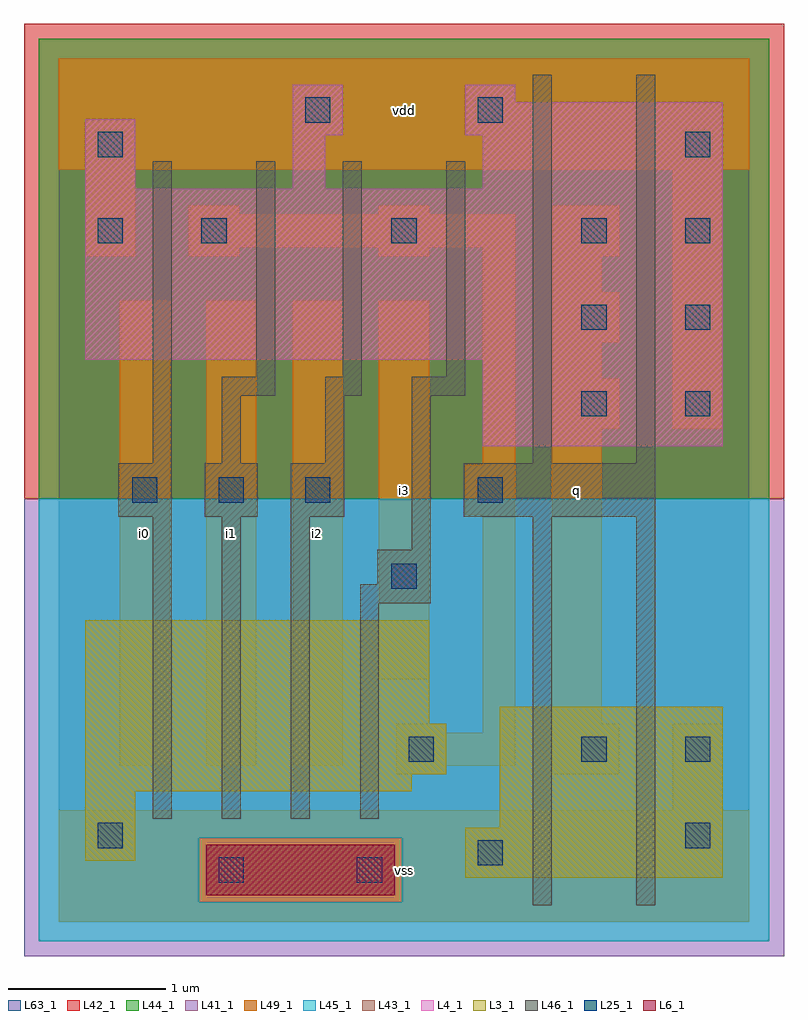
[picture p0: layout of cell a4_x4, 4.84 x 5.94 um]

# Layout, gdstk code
import gdstk
lib = gdstk.Library(unit=1e-6, precision=1e-09)
def R(c, l, rs):  # rectangles x0, y0, x1, y1
    for r in rs: c.add(gdstk.rectangle(r[:2], r[2:], *l))
def A(c, l, x, y, w, h, nx, ny, dx, dy):  # array of equal rectangles
    R(c, l, [(x+i*dx, y+j*dy, x+i*dx+w, y+j*dy+h) for i in range(nx) for j in range(ny)])
L3_1 = (3, 1)
L4_1 = (4, 1)
L6_1 = (6, 1)
L25_1 = (25, 1)
L41_1 = (41, 1)
L42_1 = (42, 1)
L43_1 = (43, 1)
L44_1 = (44, 1)
L45_1 = (45, 1)
L46_1 = (46, 1)
L49_1 = (49, 1)
L63_1 = (63, 1)

a4_x4 = lib.new_cell('a4_x4')
R(a4_x4, L3_1, [(2.59,0.28,4.23,0.6), (0.17,0.39,0.49,0.83), (2.81,0.6,4.23,1.37), (0.17,0.83,2.25,0.94), (0.17,0.94,2.47,1.26), (0.17,1.26,2.36,1.92)])
R(a4_x4, L4_1, [(2.7,3.03,4.23,3.58), (0.17,3.58,4.23,4.67), (0.17,4.67,0.49,5.11), (1.49,4.67,1.7,5.01), (2.7,4.67,4.23,5.01), (1.49,5.01,1.81,5.33), (2.59,5.01,4.23,5.22), (2.59,5.22,2.91,5.33)])
R(a4_x4, L6_1, [(0.94,0.17,2.14,0.49)])
A(a4_x4, L25_1, 0.47, 2.67, 0.16, 0.16, 3, 1, 0.55, 0)
A(a4_x4, L25_1, 3.99, 3.22, 0.16, 0.16, 1, 4, 0, 0.55)
A(a4_x4, L25_1, 0.91, 4.32, 0.16, 0.16, 3, 1, 1.21, 0)
R(a4_x4, L25_1, [(1.02,0.25,1.18,0.41), (1.9,0.25,2.06,0.41), (2.67,0.36,2.83,0.52), (0.25,0.47,0.41,0.63), (3.99,0.47,4.15,0.63), (2.23,1.02,2.39,1.18), (3.33,1.02,3.49,1.18), (3.99,1.02,4.15,1.18), (2.12,2.12,2.28,2.28), (2.67,2.67,2.83,2.83), (3.33,3.22,3.49,3.38), (3.33,3.77,3.49,3.93), (0.25,4.32,0.41,4.48), (0.25,4.87,0.41,5.03), (1.57,5.09,1.73,5.25), (2.67,5.09,2.83,5.25)])
R(a4_x4, L41_1, [(-0.22,-0.22,4.62,2.695)])
R(a4_x4, L42_1, [(-0.22,2.695,4.62,5.72)])
R(a4_x4, L43_1, [(0.94,0.17,2.14,0.49), (2.59,0.28,4.23,0.6), (0.17,0.39,0.49,0.83), (2.81,0.6,4.23,1.37), (0.17,0.83,2.25,0.94), (0.17,0.94,2.47,1.26), (0.17,1.26,2.36,1.92), (2.7,3.03,4.23,3.58), (0.17,3.58,4.23,4.67), (0.17,4.67,0.49,5.11), (1.49,4.67,1.7,5.01), (2.7,4.67,4.23,5.01), (1.49,5.01,1.81,5.33), (2.59,5.01,4.23,5.22), (2.59,5.22,2.91,5.33)])
R(a4_x4, L44_1, [(0.895,0.125,2.185,0.535), (-0.125,2.695,4.525,5.625)])
R(a4_x4, L45_1, [(-0.125,-0.125,4.525,0.125), (-0.125,0.125,0.895,0.535), (2.185,0.125,4.525,0.535), (-0.125,0.535,4.525,2.695)])
A(a4_x4, L46_1, 0.6, 0.655, 0.12, 1.925, 3, 1, 0.44, 0)
A(a4_x4, L46_1, 0.38, 2.58, 0.34, 0.34, 3, 1, 0.55, 0)
R(a4_x4, L46_1, [(3.02,0.105,3.14,2.58), (3.68,0.105,3.8,2.58), (1.92,0.655,2.04,2.03), (1.92,2.03,2.37,2.15), (2.03,2.15,2.37,2.37), (2.25,2.37,2.37,3.35), (2.58,2.58,3.8,2.92), (0.6,2.92,0.72,4.845), (1.04,2.92,1.16,3.35), (1.7,2.92,1.82,3.35), (3.02,2.92,3.14,5.395), (3.68,2.92,3.8,5.395), (1.04,3.35,1.38,3.47), (1.7,3.35,1.93,3.47), (2.25,3.35,2.59,3.47), (1.26,3.47,1.38,4.845), (1.81,3.47,1.93,4.845), (2.47,3.47,2.59,4.845)])
A(a4_x4, L49_1, 0.39, 0.995, 0.32, 2.96, 3, 1, 0.55, 0)
A(a4_x4, L49_1, 3.14, 3.14, 0.43, 0.32, 1, 3, 0, 0.55)
R(a4_x4, L49_1, [(0,0,4.4,0.71), (3.91,0.71,4.23,1.26), (2.15,0.94,2.47,0.995), (3.14,0.94,3.57,1.26), (2.15,0.995,2.91,1.205), (2.15,1.205,2.47,1.26), (2.7,1.205,2.91,2.59), (3.14,1.26,3.46,3.14), (2.04,1.545,2.36,3.955), (2.59,2.59,2.91,2.91), (2.7,2.91,2.91,4.295), (3.91,3.14,4.23,4.79), (3.14,3.46,3.46,3.69), (3.14,4.01,3.46,4.24), (0.17,4.24,0.49,4.79), (0.83,4.24,1.15,4.295), (2.04,4.24,2.36,4.295), (0.83,4.295,2.91,4.505), (0.83,4.505,1.15,4.56), (2.04,4.505,2.36,4.56), (0,4.79,4.4,5.5)])
R(a4_x4, L63_1, [(0,0,4.4,5.5)])
a4_x4.add(gdstk.Label('i0', (0.55,2.475), layer=49, texttype=1))
a4_x4.add(gdstk.Label('i0', (0.55,2.475), layer=49, texttype=1))
a4_x4.add(gdstk.Label('i1', (1.1,2.475), layer=49, texttype=1))
a4_x4.add(gdstk.Label('i1', (1.1,2.475), layer=49, texttype=1))
a4_x4.add(gdstk.Label('i2', (1.65,2.475), layer=49, texttype=1))
a4_x4.add(gdstk.Label('i2', (1.65,2.475), layer=49, texttype=1))
a4_x4.add(gdstk.Label('vss', (2.2,0.33), layer=49, texttype=1))
a4_x4.add(gdstk.Label('vss', (2.2,0.33), layer=49, texttype=1))
a4_x4.add(gdstk.Label('q', (3.3,2.75), layer=49, texttype=1))
a4_x4.add(gdstk.Label('q', (3.3,2.75), layer=49, texttype=1))
a4_x4.add(gdstk.Label('i3', (2.2,2.75), layer=49, texttype=1))
a4_x4.add(gdstk.Label('i3', (2.2,2.75), layer=49, texttype=1))
a4_x4.add(gdstk.Label('vdd', (2.2,5.17), layer=49, texttype=1))
a4_x4.add(gdstk.Label('vdd', (2.2,5.17), layer=49, texttype=1))

lib.write_gds('a4_x4.gds')
